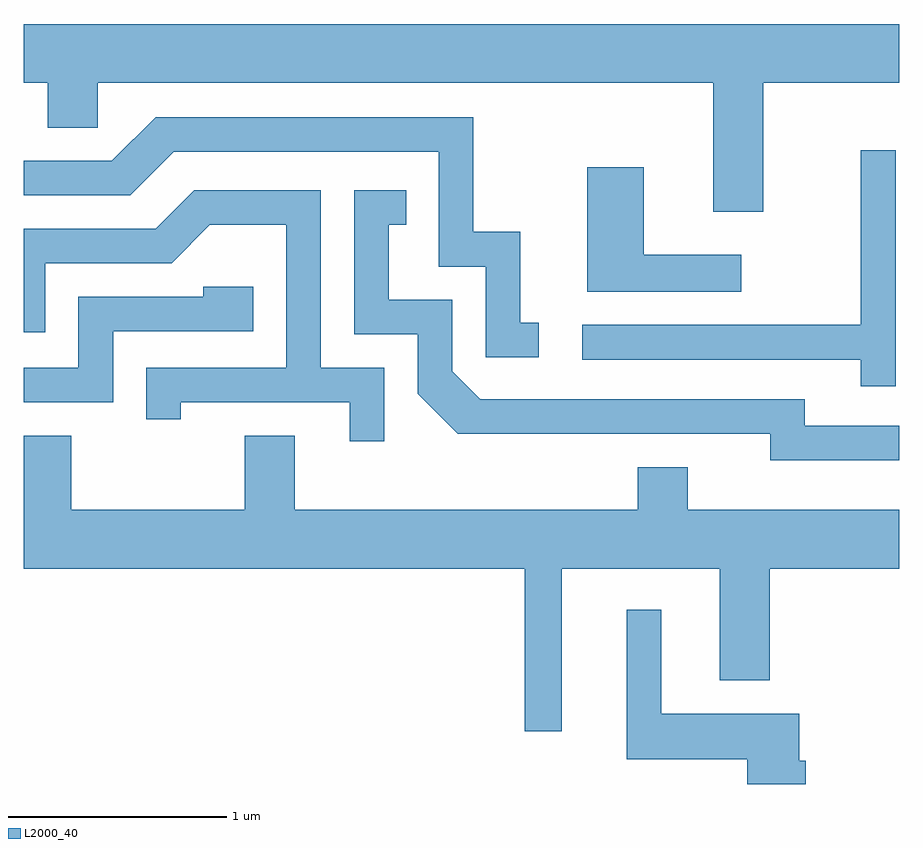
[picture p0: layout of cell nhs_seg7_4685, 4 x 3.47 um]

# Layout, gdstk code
import gdstk
lib = gdstk.Library(unit=1e-6, precision=1e-09)
def P(c, l, *ps):  # polygons
    for p in ps: c.add(gdstk.Polygon(p, *l))
L2000_40 = (2000, 40)

nhs_seg7_4685 = lib.new_cell('nhs_seg7_4685')
P(nhs_seg7_4685, L2000_40, [(332.989,1685.456),(333.611,1685.456),(333.611,1685.724),(329.611,1685.724),(329.611,1685.456),(329.721,1685.456),(329.721,1685.251),(329.949,1685.251),(329.949,1685.456),(332.761,1685.456),(332.761,1684.866),(332.989,1684.866)],
  [(331.963,1684.359),(331.879,1684.359),(331.879,1684.774),(331.664,1684.774),(331.664,1685.299),(330.214,1685.299),(330.014,1685.099),(329.611,1685.099),(329.611,1684.941),(330.097,1684.941),(330.297,1685.141),(331.506,1685.141),(331.506,1684.616),(331.721,1684.616),(331.721,1684.201),(331.963,1684.201)],
  [(333.594,1685.148),(333.436,1685.148),(333.436,1684.349),(332.163,1684.349),(332.163,1684.191),(333.436,1684.191),(333.436,1684.068),(333.594,1684.068)],
  [(332.888,1684.669),(332.444,1684.669),(332.444,1685.069),(332.186,1685.069),(332.186,1684.501),(332.888,1684.501)],
  [(333.611,1683.889),(333.179,1683.889),(333.179,1684.009),(331.697,1684.009),(331.569,1684.137),(331.569,1684.464),(331.279,1684.464),(331.279,1684.806),(331.358,1684.806),(331.358,1684.964),(331.121,1684.964),(331.121,1684.306),(331.411,1684.306),(331.411,1684.034),(331.594,1683.851),(333.021,1683.851),(333.021,1683.731),(333.611,1683.731)],
  [(331.259,1684.154),(330.969,1684.154),(330.969,1684.964),(330.389,1684.964),(330.214,1684.789),(329.611,1684.789),(329.611,1684.316),(329.709,1684.316),(329.709,1684.631),(330.287,1684.631),(330.462,1684.806),(330.811,1684.806),(330.811,1684.154),(330.171,1684.154),(330.171,1683.918),(330.329,1683.918),(330.329,1683.996),(331.101,1683.996),(331.101,1683.818),(331.259,1683.818)],
  [(330.019,1684.321),(330.659,1684.321),(330.659,1684.524),(330.431,1684.524),(330.431,1684.479),(329.861,1684.479),(329.861,1684.154),(329.611,1684.154),(329.611,1683.996),(330.019,1683.996)],
  [(332.069,1683.236),(332.791,1683.236),(332.791,1682.726),(333.019,1682.726),(333.019,1683.236),(333.611,1683.236),(333.611,1683.504),(332.644,1683.504),(332.644,1683.699),(332.416,1683.699),(332.416,1683.504),(330.849,1683.504),(330.849,1683.844),(330.621,1683.844),(330.621,1683.504),(329.829,1683.504),(329.829,1683.844),(329.611,1683.844),(329.611,1683.236),(331.901,1683.236),(331.901,1682.493),(332.069,1682.493)],
  [(333.184,1682.359),(333.154,1682.359),(333.154,1682.574),(332.524,1682.574),(332.524,1683.048),(332.366,1683.048),(332.366,1682.366),(332.916,1682.366),(332.916,1682.252),(333.184,1682.252)])

lib.write_gds('nhs_seg7_4685.gds')
